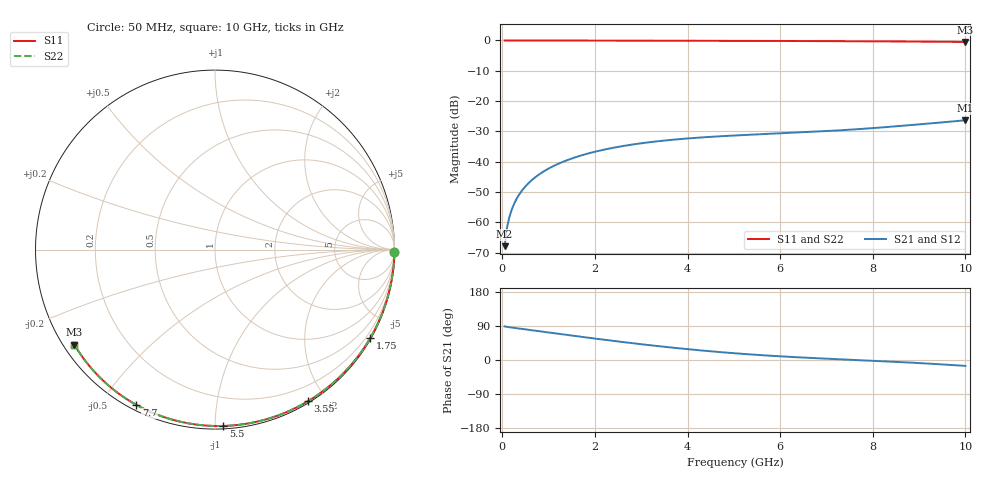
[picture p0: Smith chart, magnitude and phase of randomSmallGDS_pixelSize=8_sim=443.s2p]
! freq	dB(S11)	phase(S11)	dB(S12)	phase(S12)
!  dB(S21)	phase(S21)	dB(S22)	phase(S22)
!S-par simulation data
#  GHz  S  DB  R 50
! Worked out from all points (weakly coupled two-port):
!   200 points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, 50 MHz to 10 GHz, reference 50 ohm
!   highest |S21| = -26.33 dB at 10 GHz (marker M1); lowest = -67.8 dB at 50 MHz (marker M2)
!   lowest |S11| = -0.5 dB at 10 GHz (marker M3), VSWR 35.74, Z = 1.53 - j15.3 ohm
!   |S11| at or under -10 dB: nowhere
!   |S22| runs from -0.5 to 0.0 dB; largest |S21 - S12| = 0
!   S11 on the Smith chart (normalised r, x): 50 MHz: open; 1.75 GHz: 0.03, -3.77; 3.55 GHz: 0.02, -1.78; 5.5 GHz: 0.02, -1.05; 7.7 GHz: 0.02, -0.61; 10 GHz: 0.03, -0.31
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0.05  -0.00 -0.9  -67.85 88.6  -67.85 88.6  -0.00 -0.9
0.1  -0.00 -1.7  -61.88 87.5  -61.88 87.5  -0.00 -1.7
0.15  -0.00 -2.6  -58.41 86.5  -58.41 86.5  -0.00 -2.6
0.2  -0.00 -3.5  -55.95 85.6  -55.95 85.6  -0.00 -3.5
0.25  -0.00 -4.3  -54.05 84.8  -54.05 84.8  -0.00 -4.3
0.35  -0.00 -6.0  -51.18 83.2  -51.18 83.2  -0.00 -6.0
0.5  -0.01 -8.6  -48.13 80.8  -48.13 80.8  -0.01 -8.6
0.7  -0.01 -12.0  -45.26 77.6  -45.26 77.6  -0.01 -12.0
1  -0.02 -17.1  -42.25 72.7  -42.25 72.7  -0.02 -17.1
1.35  -0.03 -23.0  -39.78 66.9  -39.78 66.9  -0.03 -23.0
1.75  -0.04 -29.7  -37.72 60.5  -37.72 60.5  -0.04 -29.7
2.5  -0.06 -42.0  -35.10 48.9  -35.10 48.9  -0.06 -42.0
3.4  -0.08 -56.2  -33.17 36.2  -33.17 36.2  -0.08 -56.2
3.55  -0.08 -58.6  -32.93 34.2  -32.93 34.2  -0.08 -58.6
4.3  -0.10 -70.0  -31.98 25.1  -31.98 25.1  -0.10 -69.9
5.05  -0.13 -80.9  -31.32 17.4  -31.32 17.4  -0.13 -80.9
5.5  -0.14 -87.3  -30.99 13.5  -30.99 13.5  -0.14 -87.3
6.7  -0.20 -103.7  -30.14 5.2  -30.14 5.2  -0.20 -103.7
7.7  -0.27 -116.8  -29.23 -0.2  -29.23 -0.2  -0.27 -116.8
8.35  -0.32 -125.2  -28.50 -3.9  -28.50 -3.9  -0.32 -125.1
9.2  -0.40 -135.9  -27.41 -9.4  -27.41 -9.4  -0.40 -135.8
10  -0.49 -146.0  -26.33 -15.5  -26.33 -15.5  -0.49 -145.9
